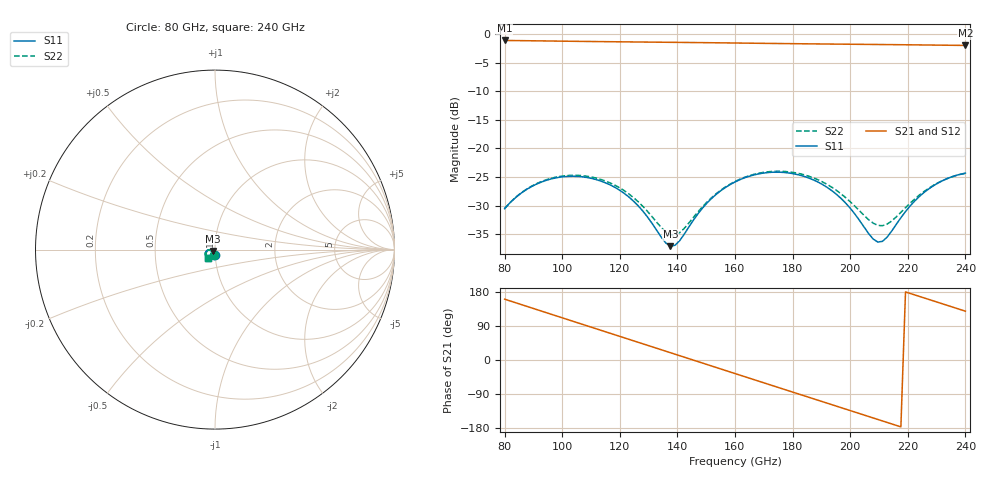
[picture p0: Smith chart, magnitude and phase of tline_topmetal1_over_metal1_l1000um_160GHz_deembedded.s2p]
! Created with skrf 2.2.0 (http://scikit-rf.org).
# GHz S DB R 50.0
! Port[1] = P1
! Port[2] = P2
!freq dBS11 angS11 dBS21 angS21 dBS12 angS12 dBS22 angS22
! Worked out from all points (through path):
!   101 points, 80 GHz to 240 GHz, reference 50 ohm
!   highest |S21| = -1.12 dB at 80 GHz (marker M1); lowest = -2.0 dB at 240 GHz (marker M2)
!   group delay of S21, straight-line fit = 6.8 ps
!   lowest |S11| = -37.1 dB at 137.6 GHz (marker M3), VSWR 1.03, Z = 48.9 - j0.794 ohm
!   |S11| at or under -10 dB: start of sweep to end of sweep
!   |S22| runs from -35.1 to -24.0 dB; largest |S21 - S12| = 9.4e-14
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80  -30.53 -95.3  -1.12 160.6  -1.12 160.6  -30.50 -97.1
86.4  -27.57 -104.5  -1.16 144.8  -1.16 144.8  -27.53 -105.0
94.4  -25.58 -120.2  -1.21 125.1  -1.21 125.1  -25.48 -119.7
100.8  -24.92 -133.6  -1.25 109.4  -1.25 109.4  -24.78 -132.5
107.2  -24.97 -147.0  -1.29 93.7  -1.29 93.7  -24.76 -145.3
113.6  -25.73 -159.7  -1.33 78.0  -1.33 78.0  -25.44 -157.3
121.6  -27.87 -173.2  -1.37 58.4  -1.37 58.4  -27.39 -169.7
128  -30.94 -178.5  -1.40 42.7  -1.40 42.7  -30.11 -174.0
134.4  -35.51 -166.2  -1.43 27.0  -1.43 27.0  -33.82 -163.3
137.6  -37.08 -144.5  -1.45 19.2  -1.45 19.2  -35.09 -147.1
140.8  -36.11 -120.2  -1.46 11.4  -1.46 11.4  -34.71 -127.8
148.8  -30.37 -102.5  -1.51 -8.3  -1.51 -8.3  -30.13 -107.8
160  -25.85 -115.6  -1.57 -35.7  -1.57 -35.7  -25.77 -117.4
168  -24.46 -130.1  -1.62 -55.3  -1.62 -55.3  -24.35 -130.5
174.4  -24.14 -142.3  -1.65 -70.9  -1.65 -70.9  -23.98 -141.7
187.2  -25.49 -165.7  -1.72 -102.2  -1.72 -102.2  -25.13 -163.0
196.8  -28.72 -178.3  -1.77 -125.6  -1.77 -125.6  -27.92 -173.3
208  -35.84 -157.1  -1.82 -153.0  -1.82 -153.0  -33.06 -156.7
211.2  -36.23 -132.7  -1.84 -160.8  -1.84 -160.8  -33.50 -141.2
214.4  -34.44 -113.6  -1.85 -168.6  -1.85 -168.6  -32.68 -126.9
225.6  -27.71 -105.8  -1.91 164.0  -1.91 164.0  -27.53 -114.8
240  -24.31 -127.3  -1.99 128.8  -1.99 128.8  -24.35 -132.7
